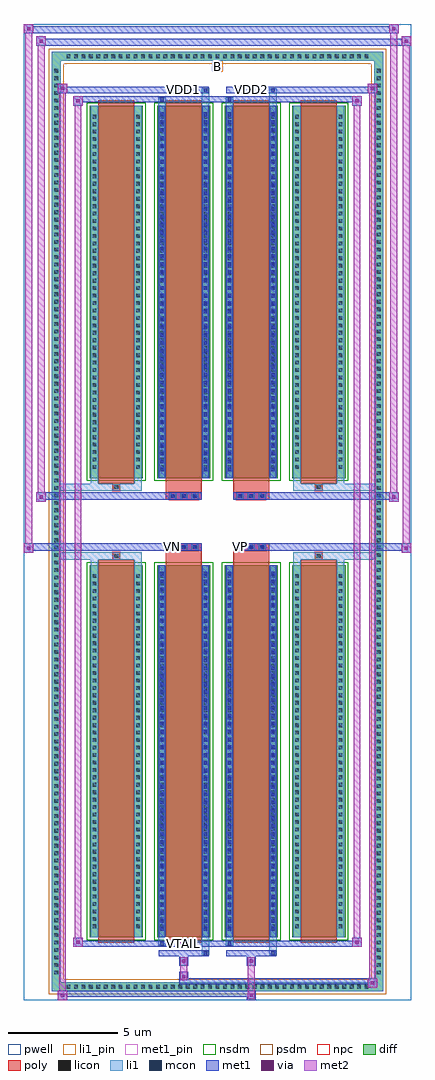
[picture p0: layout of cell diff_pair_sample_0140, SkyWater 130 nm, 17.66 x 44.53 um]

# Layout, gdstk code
import gdstk
lib = gdstk.Library(unit=1e-6, precision=5e-09)
def R(c, l, rs):  # rectangles x0, y0, x1, y1
    for r in rs: c.add(gdstk.rectangle(r[:2], r[2:], *l))
def A(c, l, x, y, w, h, nx, ny, dx, dy):  # array of equal rectangles
    R(c, l, [(x+i*dx, y+j*dy, x+i*dx+w, y+j*dy+h) for i in range(nx) for j in range(ny)])
def P(c, l, *ps):  # polygons
    for p in ps: c.add(gdstk.Polygon(p, *l))
pwell = (64, 44)
diff = (65, 20)
poly = (66, 20)
licon = (66, 44)
li1_pin = (67, 16)
li1 = (67, 20)
mcon = (67, 44)
met1_pin = (68, 16)
met1 = (68, 20)
via = (68, 44)
met2 = (69, 20)
nsdm = (93, 44)
psdm = (94, 20)
npc = (95, 20)

diff_pair_sample_0140 = lib.new_cell('diff_pair_sample_0140')
R(diff_pair_sample_0140, pwell, [(-8.83,-21.83,8.83,22.7), (-6.15,-20.02,-0.01,-0.8), (0.01,-20.02,6.15,-0.8), (-6.15,0.8,-0.01,20.02), (0.01,0.8,6.15,20.02)])
A(diff_pair_sample_0140, diff, -7.005, -21.43, 0.41, 0.41, 41, 2, 0.34, 42.45)
A(diff_pair_sample_0140, diff, -7.56, -20.775, 0.41, 0.41, 1, 122, 0, 0.34)
A(diff_pair_sample_0140, diff, 7.15, -20.775, 0.41, 0.41, 1, 122, 0, 0.34)
A(diff_pair_sample_0140, diff, -5.84, -18.975, 2.44, 16.99, 4, 2, 3.08, 20.96)
R(diff_pair_sample_0140, diff, [(-7.005,-21.43,7.005,-21.02), (-7.56,-20.775,-7.15,20.775), (7.15,-20.775,7.56,20.775), (-7.005,21.02,7.005,21.43)])
P(diff_pair_sample_0140, diff, [(7.56,21.43),(-7.56,21.43),(-7.56,-21.02),(-7.15,-21.02),(-7.15,21.02),(7.15,21.02),(7.15,-21.02),(-7.15,-21.02),(-7.56,-21.02),(-7.56,-21.43),(7.56,-21.43)])
A(diff_pair_sample_0140, poly, -5.45, -19.225, 1.66, 17.49, 4, 2, 3.08, 20.96)
A(diff_pair_sample_0140, poly, -2.205, -1.33, 0.33, 0.33, 3, 2, 0.5, 2.33)
A(diff_pair_sample_0140, poly, 0.875, -1.33, 0.33, 0.33, 3, 2, 0.5, 2.33)
R(diff_pair_sample_0140, poly, [(-4.785,-1.735,-4.455,-1.405), (-4.785,-1.735,-4.455,-1.405), (-2.37,-1.735,-0.71,-1.33), (0.71,-1.735,2.37,-1.33), (4.455,-1.735,4.785,-1.405), (4.455,-1.735,4.785,-1.405), (-2.37,-1.33,-0.71,-1), (0.71,-1.33,2.37,-1), (-2.37,1,-0.71,1.33), (0.71,1,2.37,1.33), (-2.37,1.33,-0.71,1.735), (0.71,1.33,2.37,1.735), (-4.785,1.405,-4.455,1.735), (-4.785,1.405,-4.455,1.735), (4.455,1.405,4.785,1.735), (4.455,1.405,4.785,1.735)])
A(diff_pair_sample_0140, licon, -6.885, -21.31, 0.17, 0.17, 41, 2, 0.34, 42.45)
A(diff_pair_sample_0140, licon, -7.44, -20.655, 0.17, 0.17, 1, 122, 0, 0.34)
A(diff_pair_sample_0140, licon, 7.27, -20.655, 0.17, 0.17, 1, 122, 0, 0.34)
A(diff_pair_sample_0140, licon, -5.7, -18.555, 0.17, 0.17, 1, 48, 0, 0.34)
A(diff_pair_sample_0140, licon, -3.71, -18.555, 0.17, 0.17, 1, 48, 0, 0.34)
A(diff_pair_sample_0140, licon, -2.62, -18.555, 0.17, 0.17, 1, 48, 0, 0.34)
A(diff_pair_sample_0140, licon, -0.63, -18.555, 0.17, 0.17, 1, 48, 0, 0.34)
A(diff_pair_sample_0140, licon, 0.46, -18.555, 0.17, 0.17, 1, 48, 0, 0.34)
A(diff_pair_sample_0140, licon, 2.45, -18.555, 0.17, 0.17, 1, 48, 0, 0.34)
A(diff_pair_sample_0140, licon, 3.54, -18.555, 0.17, 0.17, 1, 48, 0, 0.34)
A(diff_pair_sample_0140, licon, 5.53, -18.555, 0.17, 0.17, 1, 48, 0, 0.34)
A(diff_pair_sample_0140, licon, -2.125, -1.25, 0.17, 0.17, 3, 2, 0.5, 2.33)
A(diff_pair_sample_0140, licon, 0.955, -1.25, 0.17, 0.17, 3, 2, 0.5, 2.33)
A(diff_pair_sample_0140, licon, -5.7, 2.405, 0.17, 0.17, 1, 48, 0, 0.34)
A(diff_pair_sample_0140, licon, -3.71, 2.405, 0.17, 0.17, 1, 48, 0, 0.34)
A(diff_pair_sample_0140, licon, -2.62, 2.405, 0.17, 0.17, 1, 48, 0, 0.34)
A(diff_pair_sample_0140, licon, -0.63, 2.405, 0.17, 0.17, 1, 48, 0, 0.34)
A(diff_pair_sample_0140, licon, 0.46, 2.405, 0.17, 0.17, 1, 48, 0, 0.34)
A(diff_pair_sample_0140, licon, 2.45, 2.405, 0.17, 0.17, 1, 48, 0, 0.34)
A(diff_pair_sample_0140, licon, 3.54, 2.405, 0.17, 0.17, 1, 48, 0, 0.34)
A(diff_pair_sample_0140, licon, 5.53, 2.405, 0.17, 0.17, 1, 48, 0, 0.34)
R(diff_pair_sample_0140, licon, [(-4.705,-1.655,-4.535,-1.485), (4.535,-1.655,4.705,-1.485), (-4.705,1.485,-4.535,1.655), (4.535,1.485,4.705,1.655)])
R(diff_pair_sample_0140, li1_pin, [(-0.25,20.52,0.25,21.02)])
A(diff_pair_sample_0140, li1, -6.965, -21.39, 0.33, 0.33, 41, 2, 0.34, 42.45)
A(diff_pair_sample_0140, li1, -7.52, -20.735, 0.33, 0.33, 1, 122, 0, 0.34)
A(diff_pair_sample_0140, li1, 7.19, -20.735, 0.33, 0.33, 1, 122, 0, 0.34)
A(diff_pair_sample_0140, li1, -2.62, -18.665, 0.17, 0.17, 1, 46, 0, 0.36)
A(diff_pair_sample_0140, li1, -0.63, -18.665, 0.17, 0.17, 1, 46, 0, 0.36)
A(diff_pair_sample_0140, li1, 0.46, -18.665, 0.17, 0.17, 1, 46, 0, 0.36)
A(diff_pair_sample_0140, li1, 2.45, -18.665, 0.17, 0.17, 1, 46, 0, 0.36)
A(diff_pair_sample_0140, li1, -5.78, -18.635, 0.33, 0.33, 1, 48, 0, 0.34)
A(diff_pair_sample_0140, li1, -3.79, -18.635, 0.33, 0.33, 1, 48, 0, 0.34)
A(diff_pair_sample_0140, li1, -2.7, -18.635, 0.33, 0.33, 1, 48, 0, 0.34)
A(diff_pair_sample_0140, li1, -0.71, -18.635, 0.33, 0.33, 1, 48, 0, 0.34)
A(diff_pair_sample_0140, li1, 0.38, -18.635, 0.33, 0.33, 1, 48, 0, 0.34)
A(diff_pair_sample_0140, li1, 2.37, -18.635, 0.33, 0.33, 1, 48, 0, 0.34)
A(diff_pair_sample_0140, li1, 3.46, -18.635, 0.33, 0.33, 1, 48, 0, 0.34)
A(diff_pair_sample_0140, li1, 5.45, -18.635, 0.33, 0.33, 1, 48, 0, 0.34)
A(diff_pair_sample_0140, li1, -2.205, -1.33, 0.33, 0.33, 3, 2, 0.5, 2.33)
A(diff_pair_sample_0140, li1, 0.875, -1.33, 0.33, 0.33, 3, 2, 0.5, 2.33)
A(diff_pair_sample_0140, li1, -2.62, 2.295, 0.17, 0.17, 1, 46, 0, 0.36)
A(diff_pair_sample_0140, li1, -0.63, 2.295, 0.17, 0.17, 1, 46, 0, 0.36)
A(diff_pair_sample_0140, li1, 0.46, 2.295, 0.17, 0.17, 1, 46, 0, 0.36)
A(diff_pair_sample_0140, li1, 2.45, 2.295, 0.17, 0.17, 1, 46, 0, 0.36)
A(diff_pair_sample_0140, li1, -5.78, 2.325, 0.33, 0.33, 1, 48, 0, 0.34)
A(diff_pair_sample_0140, li1, -3.79, 2.325, 0.33, 0.33, 1, 48, 0, 0.34)
A(diff_pair_sample_0140, li1, -2.7, 2.325, 0.33, 0.33, 1, 48, 0, 0.34)
A(diff_pair_sample_0140, li1, -0.71, 2.325, 0.33, 0.33, 1, 48, 0, 0.34)
A(diff_pair_sample_0140, li1, 0.38, 2.325, 0.33, 0.33, 1, 48, 0, 0.34)
A(diff_pair_sample_0140, li1, 2.37, 2.325, 0.33, 0.33, 1, 48, 0, 0.34)
A(diff_pair_sample_0140, li1, 3.46, 2.325, 0.33, 0.33, 1, 48, 0, 0.34)
A(diff_pair_sample_0140, li1, 5.45, 2.325, 0.33, 0.33, 1, 48, 0, 0.34)
R(diff_pair_sample_0140, li1, [(-7.56,-21.43,-7.15,-21.02), (-7.56,-21.43,-7.15,-21.02), (-7.15,-21.43,7.15,-21.02), (7.15,-21.43,7.56,-21.02), (7.15,-21.43,7.56,-21.02), (-7.56,-21.02,-7.15,21.02), (7.15,-21.02,7.56,21.02), (-0.71,-19.78,-0.38,-18.975), (-0.63,-19.78,-0.46,-19.61), (2.37,-19.78,2.7,-18.975), (2.45,-19.78,2.62,-19.61), (-2.7,-19.35,-2.37,-18.975), (-2.62,-19.35,-2.45,-19.18), (0.38,-19.35,0.71,-18.975), (0.46,-19.35,0.63,-19.18), (-5.78,-18.975,-5.45,-1.985), (-3.79,-18.975,-3.46,-1.985), (-2.7,-18.975,-2.37,-1.985), (-0.71,-18.975,-0.38,-1.985), (0.38,-18.975,0.71,-1.985), (2.37,-18.975,2.7,-1.985), (3.46,-18.975,3.79,-1.985), (5.45,-18.975,5.78,-1.985), (-2.62,-18.665,-2.45,-2.295), (-0.63,-18.665,-0.46,-2.295), (0.46,-18.665,0.63,-2.295), (2.45,-18.665,2.62,-2.295), (-5.78,-1.985,-5.45,-1.405), (-3.79,-1.985,-3.46,-1.405), (3.46,-1.985,3.79,-1.405), (5.45,-1.985,5.78,-1.405), (-7.56,-1.735,-4.785,-1.405), (-5.78,-1.735,-4.785,-1.405), (-4.785,-1.735,-4.455,-1.405), (-4.455,-1.735,-3.46,-1.405), (3.46,-1.735,4.455,-1.405), (4.455,-1.735,4.785,-1.405), (4.455,-1.735,7.56,-1.405), (4.785,-1.735,5.78,-1.405), (-7.56,1.405,-4.785,1.735), (-5.78,1.405,-4.785,1.735), (-5.78,1.405,-5.45,1.985), (-4.785,1.405,-4.455,1.735), (-4.455,1.405,-3.46,1.735), (-3.79,1.405,-3.46,1.985), (3.46,1.405,4.455,1.735), (3.46,1.405,3.79,1.985), (4.455,1.405,4.785,1.735), (4.455,1.405,7.56,1.735), (4.785,1.405,5.78,1.735), (5.45,1.405,5.78,1.985), (-5.78,1.985,-5.45,18.975), (-3.79,1.985,-3.46,18.975), (-2.7,1.985,-2.37,18.975), (-0.71,1.985,-0.38,18.975), (0.38,1.985,0.71,18.975), (2.37,1.985,2.7,18.975), (3.46,1.985,3.79,18.975), (5.45,1.985,5.78,18.975), (-2.62,2.295,-2.45,18.665), (-0.63,2.295,-0.46,18.665), (0.46,2.295,0.63,18.665), (2.45,2.295,2.62,18.665), (-2.7,18.975,-2.37,19.35), (-0.71,18.975,-0.38,19.78), (0.38,18.975,0.71,19.35), (2.37,18.975,2.7,19.78), (-2.62,19.18,-2.45,19.35), (0.46,19.18,0.63,19.35), (-0.63,19.61,-0.46,19.78), (2.45,19.61,2.62,19.78), (-7.56,21.02,-7.15,21.43), (-7.56,21.02,-7.15,21.43), (-7.15,21.02,7.15,21.43), (7.15,21.02,7.56,21.43), (7.15,21.02,7.56,21.43)])
A(diff_pair_sample_0140, mcon, -2.62, -18.665, 0.17, 0.17, 1, 46, 0, 0.36)
A(diff_pair_sample_0140, mcon, -0.63, -18.665, 0.17, 0.17, 1, 46, 0, 0.36)
A(diff_pair_sample_0140, mcon, 0.46, -18.665, 0.17, 0.17, 1, 46, 0, 0.36)
A(diff_pair_sample_0140, mcon, 2.45, -18.665, 0.17, 0.17, 1, 46, 0, 0.36)
A(diff_pair_sample_0140, mcon, -2.125, -1.25, 0.17, 0.17, 3, 2, 0.5, 2.33)
A(diff_pair_sample_0140, mcon, 0.955, -1.25, 0.17, 0.17, 3, 2, 0.5, 2.33)
A(diff_pair_sample_0140, mcon, -2.62, 2.295, 0.17, 0.17, 1, 46, 0, 0.36)
A(diff_pair_sample_0140, mcon, -0.63, 2.295, 0.17, 0.17, 1, 46, 0, 0.36)
A(diff_pair_sample_0140, mcon, 0.46, 2.295, 0.17, 0.17, 1, 46, 0, 0.36)
A(diff_pair_sample_0140, mcon, 2.45, 2.295, 0.17, 0.17, 1, 46, 0, 0.36)
R(diff_pair_sample_0140, mcon, [(-0.63,-19.78,-0.46,-19.61), (2.45,-19.78,2.62,-19.61), (-2.62,-19.35,-2.45,-19.18), (0.46,-19.35,0.63,-19.18), (-2.62,19.18,-2.45,19.35), (0.46,19.18,0.63,19.35), (-0.63,19.61,-0.46,19.78), (2.45,19.61,2.62,19.78)])
R(diff_pair_sample_0140, met1_pin, [(-1.675,-19.39,-1.405,-19.12), (-2.175,-1.29,-1.905,-1.02), (0.905,-1.29,1.175,-1.02), (-1.675,19.57,-1.405,19.84), (1.405,19.57,1.675,19.84)])
A(diff_pair_sample_0140, met1, -2.68, -18.725, 0.29, 0.29, 1, 46, 0, 0.36)
A(diff_pair_sample_0140, met1, -0.69, -18.725, 0.29, 0.29, 1, 46, 0, 0.36)
A(diff_pair_sample_0140, met1, 0.4, -18.725, 0.29, 0.29, 1, 46, 0, 0.36)
A(diff_pair_sample_0140, met1, 2.39, -18.725, 0.29, 0.29, 1, 46, 0, 0.36)
A(diff_pair_sample_0140, met1, -2.185, -1.31, 0.29, 0.29, 3, 2, 0.5, 2.33)
A(diff_pair_sample_0140, met1, 0.895, -1.31, 0.29, 0.29, 3, 2, 0.5, 2.33)
A(diff_pair_sample_0140, met1, -2.68, 2.235, 0.29, 0.29, 1, 46, 0, 0.36)
A(diff_pair_sample_0140, met1, -0.69, 2.235, 0.29, 0.29, 1, 46, 0, 0.36)
A(diff_pair_sample_0140, met1, 0.4, 2.235, 0.29, 0.29, 1, 46, 0, 0.36)
A(diff_pair_sample_0140, met1, 2.39, 2.235, 0.29, 0.29, 1, 46, 0, 0.36)
R(diff_pair_sample_0140, met1, [(-7.29,-21.83,-6.86,-21.4), (1.325,-21.83,1.755,-21.4), (-7.29,-21.69,1.755,-21.4), (6.86,-21.26,7.29,-20.83), (-1.755,-21.12,7.29,-20.83), (-1.755,-20.98,-1.325,-20.55), (-1.755,-20.27,-1.325,-19.84), (1.325,-20.27,1.755,-19.84), (-2.68,-19.84,-0.4,-19.55), (-0.69,-19.84,-0.4,-19.55), (0.4,-19.84,2.68,-19.55), (2.39,-19.84,2.68,-19.55), (-6.58,-19.41,-6.15,-18.98), (-6.58,-19.41,-2.68,-19.12), (-2.68,-19.41,-2.39,-19.12), (-2.68,-19.41,-0.4,-19.12), (-0.4,-19.41,0.4,-19.12), (0.4,-19.41,0.69,-19.12), (0.4,-19.41,2.68,-19.12), (2.68,-19.41,6.58,-19.12), (6.15,-19.41,6.58,-18.98), (-2.68,-18.975,-2.39,-1.985), (-0.69,-18.975,-0.4,-1.985), (0.4,-18.975,0.69,-1.985), (2.39,-18.975,2.68,-1.985), (-8.83,-1.43,-8.4,-1), (8.4,-1.43,8.83,-1), (-8.83,-1.33,-0.71,-1), (-2.37,-1.33,-0.71,-1), (0.71,-1.33,2.37,-1), (0.71,-1.33,8.83,-1), (-8.26,0.9,-7.83,1.33), (7.83,0.9,8.26,1.33), (-8.26,1,-2.37,1.33), (-2.37,1,-0.71,1.33), (0.71,1,2.37,1.33), (2.37,1,8.26,1.33), (-2.68,1.985,-2.39,18.975), (-0.69,1.985,-0.4,18.975), (0.4,1.985,0.69,18.975), (2.39,1.985,2.68,18.975), (-6.58,18.98,-6.15,19.41), (6.15,18.98,6.58,19.41), (-6.58,19.12,-2.68,19.41), (-2.68,19.12,-2.39,19.41), (-2.68,19.12,-0.4,19.41), (-0.4,19.12,0.4,19.41), (0.4,19.12,0.69,19.41), (0.4,19.12,2.68,19.41), (2.68,19.12,6.58,19.41), (-7.29,19.55,-6.86,19.98), (-7.29,19.55,-2.68,19.84), (-2.68,19.55,-0.4,19.84), (-0.69,19.55,-0.4,19.84), (0.4,19.55,2.68,19.84), (2.39,19.55,2.68,19.84), (2.68,19.55,7.29,19.84), (6.86,19.55,7.29,19.98), (-8.26,21.7,-7.83,22.13), (-8.26,21.7,-6.15,22.03), (-6.15,21.7,6.15,22.03), (6.15,21.7,8.83,22.03), (8.4,21.7,8.83,22.13), (-8.83,22.27,-8.4,22.7), (-8.83,22.27,-6.15,22.6), (-6.15,22.27,6.15,22.6), (6.15,22.27,8.26,22.6), (7.83,22.27,8.26,22.7)])
R(diff_pair_sample_0140, via, [(-7.15,-21.69,-7,-21.54), (1.465,-21.69,1.615,-21.54), (7,-21.12,7.15,-20.97), (-1.615,-20.84,-1.465,-20.69), (-1.615,-20.13,-1.465,-19.98), (1.465,-20.13,1.615,-19.98), (-6.44,-19.27,-6.29,-19.12), (6.29,-19.27,6.44,-19.12), (-8.69,-1.29,-8.54,-1.14), (8.54,-1.29,8.69,-1.14), (-8.12,1.04,-7.97,1.19), (7.97,1.04,8.12,1.19), (-6.44,19.12,-6.29,19.27), (6.29,19.12,6.44,19.27), (-7.15,19.69,-7,19.84), (7,19.69,7.15,19.84), (-8.12,21.84,-7.97,21.99), (8.54,21.84,8.69,21.99), (-8.69,22.41,-8.54,22.56), (7.97,22.41,8.12,22.56)])
R(diff_pair_sample_0140, met2, [(-7.29,-21.83,-6.86,-21.4), (-7.22,-21.83,-6.93,19.98), (-6.93,-21.83,-6.86,-21.4), (-7.24,-21.78,-6.91,-21.45), (1.375,-21.78,1.705,-21.45), (1.375,-21.45,1.705,-20.22), (6.86,-21.26,7.29,-20.83), (6.93,-21.26,7.22,19.98), (7.22,-21.26,7.29,-20.83), (6.91,-21.21,7.24,-20.88), (-1.705,-20.93,-1.375,-20.6), (-1.705,-20.6,-1.375,-20.22), (-1.705,-20.22,-1.375,-19.89), (1.375,-20.22,1.705,-19.89), (-6.58,-19.41,-6.15,-18.98), (-6.51,-19.41,-6.22,19.41), (-6.22,-19.41,-6.15,-18.98), (6.15,-19.41,6.58,-18.98), (6.22,-19.41,6.51,19.41), (6.51,-19.41,6.58,-18.98), (-6.53,-19.36,-6.2,-19.03), (6.2,-19.36,6.53,-19.03), (-8.83,-1.43,-8.4,-1), (-8.78,-1.43,-8.45,22.7), (-8.45,-1.43,-8.4,-1), (8.4,-1.43,8.83,-1), (8.45,-1.43,8.78,22.13), (8.78,-1.43,8.83,-1), (-8.78,-1.38,-8.45,-1.05), (8.45,-1.38,8.78,-1.05), (-8.26,0.9,-7.83,1.33), (-8.21,0.9,-7.88,22.13), (-7.88,0.9,-7.83,1.33), (7.83,0.9,8.26,1.33), (7.88,0.9,8.21,22.7), (8.21,0.9,8.26,1.33), (-8.21,0.95,-7.88,1.28), (7.88,0.95,8.21,1.28), (-6.58,18.98,-6.15,19.41), (-6.22,18.98,-6.15,19.41), (6.15,18.98,6.58,19.41), (6.51,18.98,6.58,19.41), (-6.53,19.03,-6.2,19.36), (6.2,19.03,6.53,19.36), (-7.29,19.55,-6.86,19.98), (-6.93,19.55,-6.86,19.98), (6.86,19.55,7.29,19.98), (7.22,19.55,7.29,19.98), (-7.24,19.6,-6.91,19.93), (6.91,19.6,7.24,19.93), (-8.26,21.7,-7.83,22.13), (-7.88,21.7,-7.83,22.13), (8.4,21.7,8.83,22.13), (8.78,21.7,8.83,22.13), (-8.21,21.75,-7.88,22.08), (8.45,21.75,8.78,22.08), (-8.83,22.27,-8.4,22.7), (-8.45,22.27,-8.4,22.7), (7.83,22.27,8.26,22.7), (8.21,22.27,8.26,22.7), (-8.78,22.32,-8.45,22.65), (7.88,22.32,8.21,22.65)])
A(diff_pair_sample_0140, nsdm, -5.97, -19.105, 2.7, 17.25, 4, 2, 3.08, 20.96)
P(diff_pair_sample_0140, psdm, [(7.69,21.56),(-7.69,21.56),(-7.69,-20.89),(-7.02,-20.89),(-7.02,20.89),(7.02,20.89),(7.02,-20.89),(-7.02,-20.89),(-7.69,-20.89),(-7.69,-21.56),(7.69,-21.56)])
A(diff_pair_sample_0140, npc, -2.225, -1.35, 0.37, 0.37, 3, 2, 0.5, 2.33)
A(diff_pair_sample_0140, npc, 0.855, -1.35, 0.37, 0.37, 3, 2, 0.5, 2.33)
R(diff_pair_sample_0140, npc, [(-4.805,-1.755,-4.435,-1.385), (4.435,-1.755,4.805,-1.385), (-2.225,-1.35,-1.355,-0.98), (-2.225,-1.35,-1.355,-0.98), (-1.725,-1.35,-0.855,-0.98), (-1.725,-1.35,-0.855,-0.98), (0.855,-1.35,1.725,-0.98), (0.855,-1.35,1.725,-0.98), (1.355,-1.35,2.225,-0.98), (1.355,-1.35,2.225,-0.98), (-2.225,0.98,-1.355,1.35), (-2.225,0.98,-1.355,1.35), (-1.725,0.98,-0.855,1.35), (-1.725,0.98,-0.855,1.35), (0.855,0.98,1.725,1.35), (0.855,0.98,1.725,1.35), (1.355,0.98,2.225,1.35), (1.355,0.98,2.225,1.35), (-4.805,1.385,-4.435,1.755), (4.435,1.385,4.805,1.755)])
diff_pair_sample_0140.add(gdstk.Label('VTAIL', (-1.54,-19.255), layer=68, texttype=5))
diff_pair_sample_0140.add(gdstk.Label('VN', (-2.04,-1.155), layer=68, texttype=5))
diff_pair_sample_0140.add(gdstk.Label('VP', (1.04,-1.155), layer=68, texttype=5))
diff_pair_sample_0140.add(gdstk.Label('B', (0,20.77), layer=67, texttype=5))
diff_pair_sample_0140.add(gdstk.Label('VDD2', (1.54,19.705), layer=68, texttype=5))
diff_pair_sample_0140.add(gdstk.Label('VDD1', (-1.54,19.705), layer=68, texttype=5))

lib.write_gds('diff_pair_sample_0140.gds')
